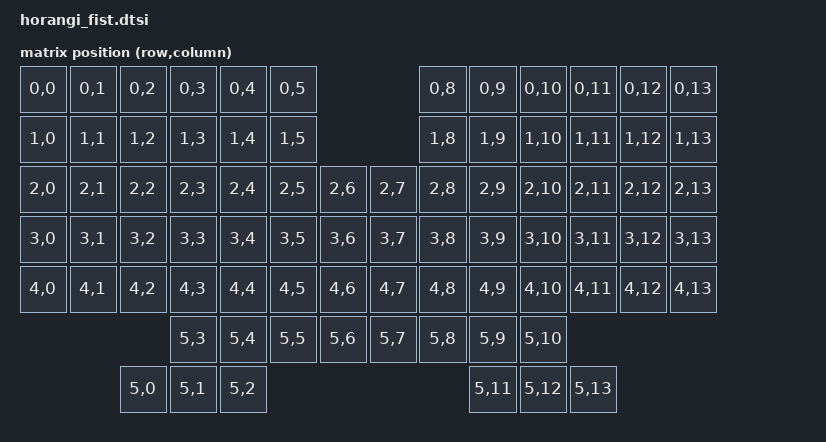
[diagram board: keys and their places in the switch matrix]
#include <dt-bindings/zmk/matrix_transform.h>
#include "horangi_fist-layouts.dtsi"

/ {
    chosen {
        zmk,kscan = &kscan0;
        zmk,physical-layout = &horangi_fist_layout;

        /*
         * zmk,matrix_transform 은 여기 두지 않습니다.
         * chosen 에 transform 이 있으면 ZMK 가 physical layout 을 통째로 무시하고
         * ZMK Studio 가 동작하지 않습니다 (app/src/physical_layouts.c:143).
         * transform 은 파일 끝에서 physical layout 에 연결합니다.
         */
    };

    default_transform: keymap_transform_0 {
        compatible = "zmk,matrix-transform";
        columns = <14>;
        rows = <7>;

        map = <
        RC(0,0) RC(0,1) RC(0,2) RC(0,3) RC(0,4) RC(0,5)                    RC(0,8) RC(0,9) RC(0,10) RC(0,11) RC(0,12) RC(0,13)
        RC(1,0) RC(1,1) RC(1,2) RC(1,3) RC(1,4) RC(1,5)                    RC(1,8) RC(1,9) RC(1,10) RC(1,11) RC(1,12) RC(1,13)
        RC(2,0) RC(2,1) RC(2,2) RC(2,3) RC(2,4) RC(2,5) RC(2,6)    RC(2,7) RC(2,8) RC(2,9) RC(2,10) RC(2,11) RC(2,12) RC(2,13)
        RC(3,0) RC(3,1) RC(3,2) RC(3,3) RC(3,4) RC(3,5) RC(3,6)    RC(3,7) RC(3,8) RC(3,9) RC(3,10) RC(3,11) RC(3,12) RC(3,13)
        RC(4,0) RC(4,1) RC(4,2) RC(4,3) RC(4,4) RC(4,5) RC(4,6)    RC(4,7) RC(4,8) RC(4,9) RC(4,10) RC(4,11) RC(4,12) RC(4,13)
                                RC(5,3) RC(5,4) RC(5,5) RC(5,6)    RC(5,7) RC(5,8) RC(5,9) RC(5,10)
                        RC(5,0) RC(5,1) RC(5,2)                                   RC(5,11) RC(5,12) RC(5,13)
        >;
    };

    kscan0: kscan {
        compatible = "zmk,kscan-gpio-matrix";
        wakeup-source;

        diode-direction = "col2row";
        debounce-press-ms = <4>;
        debounce-release-ms = <20>;
    };

};

/* physical layout 에 matrix transform 연결 (chosen 대신) */
&horangi_fist_layout {
    transform = <&default_transform>;
};
